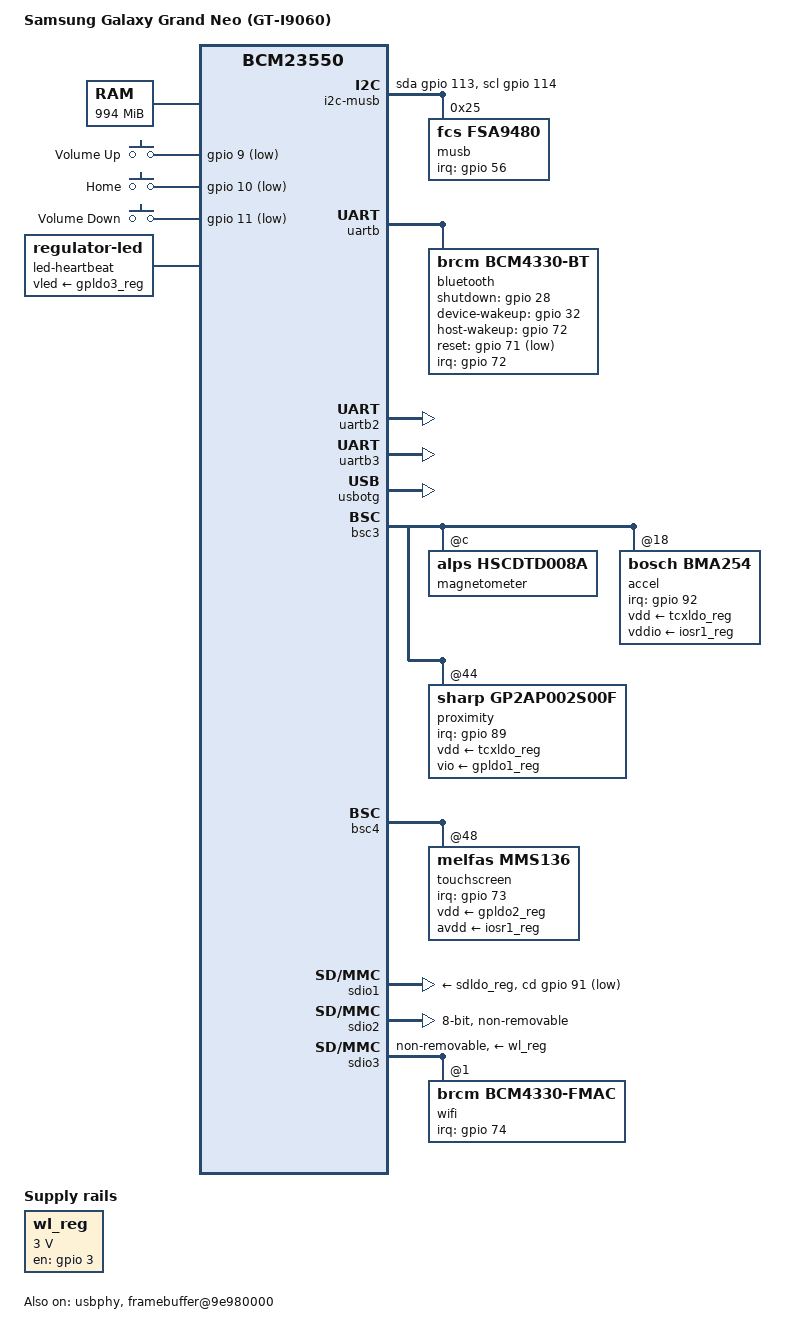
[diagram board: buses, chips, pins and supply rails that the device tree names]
// SPDX-License-Identifier: GPL-2.0-or-later
/*
 * Device tree for Samsung Galaxy Grand Neo (GT-I9060).
 *
 * Copyright (c) 2025 Artur Weber <aweber.kernel@gmail.com>
 */

/dts-v1/;

#include <dt-bindings/gpio/gpio.h>
#include <dt-bindings/input/input.h>
#include <dt-bindings/leds/common.h>

#include "bcm23550.dtsi"

/ {
	model = "Samsung Galaxy Grand Neo (GT-I9060)";
	compatible = "samsung,baffinlite", "brcm,bcm23550";
	chassis-type = "handset";

	aliases {
		mmc0 = &sdio2;  /* Internal storage */
		mmc1 = &sdio1;  /* SD card */
		mmc2 = &sdio3;  /* WiFi SDIO */
	};

	chosen {
		stdout-path = "/slaves@3e000000/serial@2:115200n8";
	};

	memory@80000000 {
		device_type = "memory";
		reg = <0x80000000 0x3e200000>;
	};

	reserved-memory {
		#address-cells = <1>;
		#size-cells = <1>;
		ranges;

		simplefb: framebuffer@9e980000 {
			reg = <0x9e980000 (480 * 800 * 4)>;
			no-map;
		};
	};

	/* Buttons */
	gpio-keys {
		compatible = "gpio-keys";

		key-volume-up {
			label = "Volume Up";
			gpios = <&gpio 9 GPIO_ACTIVE_LOW>;
			linux,code = <KEY_VOLUMEUP>;
		};

		key-home {
			label = "Home";
			gpios = <&gpio 10 GPIO_ACTIVE_LOW>;
			linux,code = <KEY_HOMEPAGE>;
		};

		key-volume-down {
			label = "Volume Down";
			gpios = <&gpio 11 GPIO_ACTIVE_LOW>;
			linux,code = <KEY_VOLUMEDOWN>;
		};
	};

	/* Touchkey LED */
	led-heartbeat {
		compatible = "regulator-led";
		vled-supply = <&gpldo3_reg>;
		color = <LED_COLOR_ID_WHITE>;

		/* Temporary, drop before upstreaming */
		function = LED_FUNCTION_STATUS;
		linux,default-trigger = "heartbeat";
	};

	/* USB switch */
	i2c-musb {
		#address-cells = <1>;
		#size-cells = <0>;
		compatible = "i2c-gpio";
		sda-gpios = <&gpio 113 (GPIO_ACTIVE_HIGH | GPIO_OPEN_DRAIN)>;
		scl-gpios = <&gpio 114 (GPIO_ACTIVE_HIGH | GPIO_OPEN_DRAIN)>;
		i2c-gpio,delay-us = <2>;

		musb@25 {
			compatible = "fcs,fsa9480";
			reg = <0x25>;
			interrupt-parent = <&gpio>;
			interrupts = <56 IRQ_TYPE_LEVEL_HIGH>;
		};
	};

	/* GPIO regulator for WiFi */
	wl_reg: regulator-gpio-wlan {
		compatible = "regulator-fixed";
		regulator-name = "WL_REG_ON";
		regulator-min-microvolt = <3000000>;
		regulator-max-microvolt = <3000000>;
		startup-delay-us = <100000>;
		gpio = <&gpio 3 GPIO_ACTIVE_HIGH>;
		enable-active-high;
	};

	framebuffer@9e980000 {
		compatible = "simple-framebuffer";
		reg = <0x9e980000 (480 * 800 * 4)>;
		width = <480>;
		height = <800>;
		stride = <(480 * 4)>;
		format = "a8r8g8b8";
		status = "okay";
	};
};

&uartb {
	status = "okay";
	clock-frequency = <48000000>;

	bluetooth {
		compatible = "brcm,bcm4330-bt";

		shutdown-gpios = <&gpio 28 GPIO_ACTIVE_HIGH>;
		device-wakeup-gpios = <&gpio 32 GPIO_ACTIVE_HIGH>;
		host-wakeup-gpios = <&gpio 72 GPIO_ACTIVE_HIGH>;
		reset-gpios = <&gpio 71 GPIO_ACTIVE_LOW>;
		interrupt-parent = <&gpio>;
		interrupts = <72 IRQ_TYPE_EDGE_FALLING>;
	};
};

&uartb2 {
	status = "okay";
	clock-frequency = <26000000>;
};

&uartb3 {
	status = "okay";
	clock-frequency = <26000000>;
};

&usbotg {
	vusb_d-supply = <&usbldo_reg>;
	vusb_a-supply = <&iosr1_reg>;
	status = "okay";
};

&usbphy {
	status = "okay";
};

&bsc3 {
	clock-frequency = <400000>;

	pinctrl-0 = <&bsc3_pins>;
	pinctrl-names = "default";

	status = "okay";

	magnetometer@c {
		compatible = "alps,hscdtd008a";
		reg = <0x0c>;
	};

	accel@18 {
		compatible = "bosch,bma254";
		reg = <0x18>;

		interrupt-parent = <&gpio>;
		interrupts = <92 IRQ_TYPE_EDGE_RISING>;

		mount-matrix = "-1", "0", "0",
			       "0", "-1", "0",
			       "0", "0", "-1";
		vdd-supply = <&tcxldo_reg>;
		vddio-supply = <&iosr1_reg>;
	};

	proximity@44 {
		compatible = "sharp,gp2ap002s00f";
		reg = <0x44>;

		interrupt-parent = <&gpio>;
		interrupts = <89 IRQ_TYPE_EDGE_FALLING>;

		vdd-supply = <&tcxldo_reg>; /* SENSOR_3.3V */
		vio-supply = <&gpldo1_reg>; /* SENSOR_LED_3.3V */

		sharp,proximity-far-hysteresis = /bits/ 8 <0x2f>;
		sharp,proximity-close-hysteresis = /bits/ 8 <0x0c>;
	};
};

&bsc4 {
	clock-frequency = <400000>;

	pinctrl-0 = <&bsc4_pins>;
	pinctrl-names = "default";

	status = "okay";

	/* Melfas MMS144 touchscreen, using the mms136 compatible for now */
	touchscreen@48 {
		compatible = "melfas,mms136";
		reg = <0x48>;

		interrupt-parent = <&gpio>;
		interrupts = <73 IRQ_TYPE_EDGE_FALLING>;

		vdd-supply = <&gpldo2_reg>;
		avdd-supply = <&iosr1_reg>;

		touchscreen-size-x = <480>;
		touchscreen-size-y = <800>;

		linux,keycodes = <KEY_MENU KEY_BACK>;
	};
};

&pmu_bsc {
	clock-frequency = <3400000>; /* 3.2mhz? Downstream refers to this as a HS bus, but it doesn't give any speed information other than that. */

	pinctrl-0 = <&pmbsc_pins>;
	pinctrl-names = "default";

	status = "okay";

	pmu: pmu@8 {
		compatible = "brcm,bcm59054";
		reg = <0x08>;
		interrupt-parent = <&gpio>;
		interrupts = <29 IRQ_TYPE_EDGE_FALLING>;

		regulators {
			rfldo_reg: rfldo {
				regulator-min-microvolt = <1300000>;
				regulator-max-microvolt = <3300000>;
				regulator-always-on;
				/*regulator-allowed-modes = <0x2 0x4 0x8>; */ /* NORMAL, IDLE, STANDBY */
				/*regulator-initial-mode = <0x8>; */ /* REGULATOR_MODE_STANDBY */
			};

			camldo1_reg: camldo1 {
				regulator-min-microvolt = <1300000>;
				regulator-max-microvolt = <3300000>;
				regulator-always-on;
				/*regulator-initial-mode = <0x8>;*/ /* REGULATOR_MODE_STANDBY */
			};

			camldo2_reg: camldo2 {
				regulator-min-microvolt = <1300000>;
				regulator-max-microvolt = <3300000>;
				regulator-always-on;
				/*regulator-initial-mode = <0x8>;*/ /* REGULATOR_MODE_STANDBY */
			};

			simldo1_reg: simldo1 {
				regulator-min-microvolt = <1300000>;
				regulator-max-microvolt = <3300000>;
				/*regulator-allowed-modes = <0x2 0x4 0x8>;*/ /* NORMAL, IDLE, STANDBY */
			};

			simldo2_reg: simldo2 {
				regulator-min-microvolt = <1300000>;
				regulator-max-microvolt = <3300000>;
				/*regulator-allowed-modes = <0x2 0x4 0x8>;*/ /* NORMAL, IDLE, STANDBY */
			};

			sdldo_reg: sdldo {
				regulator-min-microvolt = <1300000>;
				regulator-max-microvolt = <3300000>;
			};

			sdxldo_reg: sdxldo {
				regulator-min-microvolt = <1300000>;
				regulator-max-microvolt = <3300000>;
			};

			mmcldo1_reg: mmcldo1 {
				regulator-min-microvolt = <1300000>;
				regulator-max-microvolt = <3300000>;
			};

			mmcldo2_reg: mmcldo2 {
				regulator-min-microvolt = <1300000>;
				regulator-max-microvolt = <3300000>;
			};

			audldo_reg: audldo {
				regulator-min-microvolt = <1300000>;
				regulator-max-microvolt = <3300000>;
				regulator-always-on;
				/*regulator-allowed-modes = <0x2 0x4 0x8>;*/ /* NORMAL, IDLE, STANDBY */
				/*regulator-initial-mode = <0x8>;*/ /* REGULATOR_MODE_STANDBY */
			};

			usbldo_reg: usbldo {
				regulator-min-microvolt = <1300000>;
				regulator-max-microvolt = <3300000>;
			};

			micldo_reg: micldo {
				/* This regulator is locked at 1.8v */
				regulator-min-microvolt = <1800000>;
				regulator-max-microvolt = <1800000>;
			};

			vibldo_reg: vibldo {
				regulator-min-microvolt = <1300000>;
				regulator-max-microvolt = <3300000>;
			};

			gpldo1_reg: gpldo1 {
				regulator-min-microvolt = <1200000>;
				regulator-max-microvolt = <3300000>;
			};

			gpldo2_reg: gpldo2 {
				regulator-min-microvolt = <1200000>;
				regulator-max-microvolt = <3300000>;
			};

			gpldo3_reg: gpldo3 {
				regulator-min-microvolt = <3300000>; /* technically 1.2v but 3v3 is required for led */
				regulator-max-microvolt = <3300000>;
			};

			tcxldo_reg: tcxldo {
				regulator-min-microvolt = <1200000>;
				regulator-max-microvolt = <3300000>;
				regulator-always-on;
			};

			lvldo1_reg: lvldo1 {
				regulator-min-microvolt = <1000000>;
				regulator-max-microvolt = <1800000>;
			};

			lvldo2_reg: lvldo2 {
				regulator-min-microvolt = <1000000>;
				regulator-max-microvolt = <1786000>;
			};

			vsr_reg: vsr {
				regulator-min-microvolt = <860000>;
				regulator-max-microvolt = <1800000>;
			};

			csr_reg: csr {
				regulator-min-microvolt = <700000>;
				regulator-max-microvolt = <1440000>;
				regulator-always-on;
				/* regulator-initial-mode = <0x8>; */ /* REGULATOR_MODE_STANDBY */
			};

			mmsr_reg: mmsr {
				regulator-min-microvolt = <860000>;
				regulator-max-microvolt = <1800000>;
				regulator-always-on;			
				/* regulator-initial-mode = <0x4>; */ /* REGULATOR_MODE_IDLE */
			};

			sdsr1_reg: sdsr1 {
				regulator-min-microvolt = <860000>;
				regulator-max-microvolt = <1800000>;
				regulator-always-on;			
				/* regulator-initial-mode = <0x4>; */ /* REGULATOR_MODE_IDLE */
			};

			sdsr2_reg: sdsr2 {
				regulator-min-microvolt = <860000>;
				regulator-max-microvolt = <1800000>;
				regulator-always-on;			
				/* regulator-initial-mode = <0x4>; */ /* REGULATOR_MODE_IDLE */
			};

			iosr1_reg: iosr1 {
				regulator-min-microvolt = <860000>;
				regulator-max-microvolt = <1800000>;
				regulator-always-on;
				/* regulator-initial-mode = <0x4>; */ /* REGULATOR_MODE_IDLE */
			};

			iosr2_reg: iosr2 {
				regulator-min-microvolt = <860000>;
				regulator-max-microvolt = <1800000>;
			};
		};
	};
};

/* SD card */
&sdio1 {
	max-frequency = <48000000>;

	cd-gpios = <&gpio 91 (GPIO_ACTIVE_LOW | GPIO_PULL_UP)>;
	vmmc-supply = <&sdldo_reg>;
	vqmmc-supply = <&sdxldo_reg>;

	pinctrl-0 = <&sd_width4_pins>;
	pinctrl-names = "default";

	status = "okay";
};

/* Internal storage */
&sdio2 {
	max-frequency = <52000000>;

	keep-power-in-suspend;
	non-removable;
	bus-width = <8>;

	pinctrl-0 = <&mmc0_width8_pins>;
	pinctrl-names = "default";

	status = "okay";
};

/* WiFi */
&sdio3 {
	max-frequency = <48000000>;

	/* Actually a regulator for the WiFi chip */
	vmmc-supply = <&wl_reg>;

	#address-cells = <1>;
	#size-cells = <0>;

	pinctrl-0 = <&mmc1_width4_pins>;
	pinctrl-names = "default";

	keep-power-in-suspend;
	non-removable;

	status = "okay";

	wifi@1 {
		compatible = "brcm,bcm4330-fmac", "brcm,bcm4329-fmac";
		reg = <1>;

		interrupt-parent = <&gpio>;
		interrupts = <74 IRQ_TYPE_EDGE_FALLING>;
		interrupt-names = "host-wake";
	};
};
